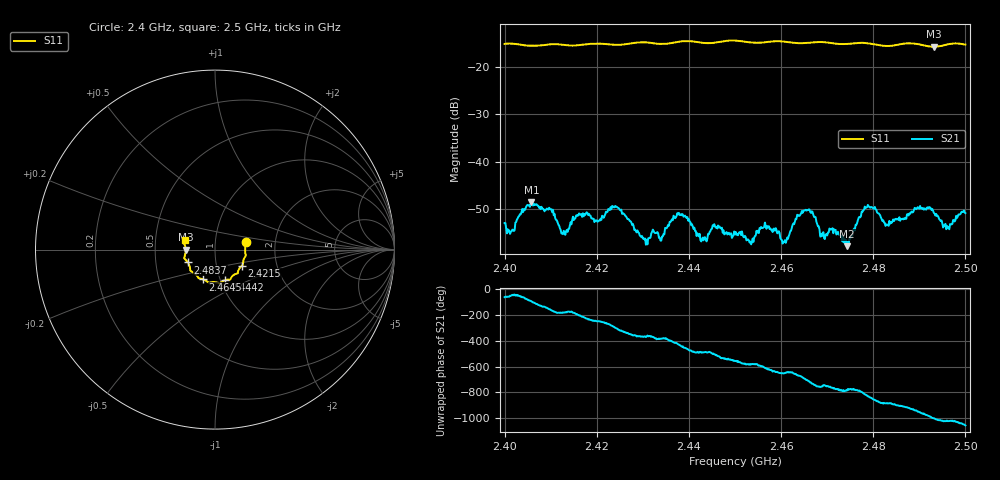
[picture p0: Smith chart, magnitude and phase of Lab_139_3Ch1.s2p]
# Hz S RI R 50
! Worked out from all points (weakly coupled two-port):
!   601 points, 2.4 GHz to 2.5 GHz, reference 50 ohm
!   highest |S21| = -48.65 dB at 2.4058 GHz (marker M1); lowest = -57.9 dB at 2.4743 GHz (marker M2)
!   lowest |S11| = -15.7 dB at 2.4932 GHz (marker M3), VSWR 1.39, Z = 35.9 - j0.0539 ohm
!   |S11| at or under -10 dB: start of sweep to end of sweep
!   S12 and S22 are empty: the file has one direction only
!   S11 on the Smith chart (normalised r, x): 2.4 GHz: 1.41, +0.12; 2.4215 GHz: 1.33, -0.25; 2.4442 GHz: 1.05, -0.37; 2.4645 GHz: 0.83, -0.29; 2.4837 GHz: 0.73, -0.11; 2.5 GHz: 0.71, +0.07
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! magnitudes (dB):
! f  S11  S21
! 2.4 GHz  -15.1  -53.0
! 2.4058 GHz  -15.5  -48.7
! 2.4128 GHz  -15.3  -54.7
! 2.4167 GHz  -15.3  -51.1
! 2.4215 GHz  -15.1  -51.9
! 2.4243 GHz  -15.3  -49.6
! 2.4305 GHz  -14.8  -56.3
! 2.4333 GHz  -15.1  -55.2
! 2.438 GHz  -14.6  -51.3
! 2.4442 GHz  -14.9  -55.3
! 2.45 GHz  -14.4  -55.4
! 2.4607 GHz  -14.6  -57.0
! 2.4645 GHz  -15.0  -50.5
! 2.4667 GHz  -14.8  -50.5
! 2.469 GHz  -14.7  -55.7
! 2.4743 GHz  -15.1  -57.9
! 2.4787 GHz  -15.0  -49.7
! 2.4833 GHz  -15.6  -53.6
! 2.4837 GHz  -15.5  -53.2
! 2.4932 GHz  -15.7  -50.9
! 2.496 GHz  -15.3  -53.6
! 2.5 GHz  -15.3  -50.9
